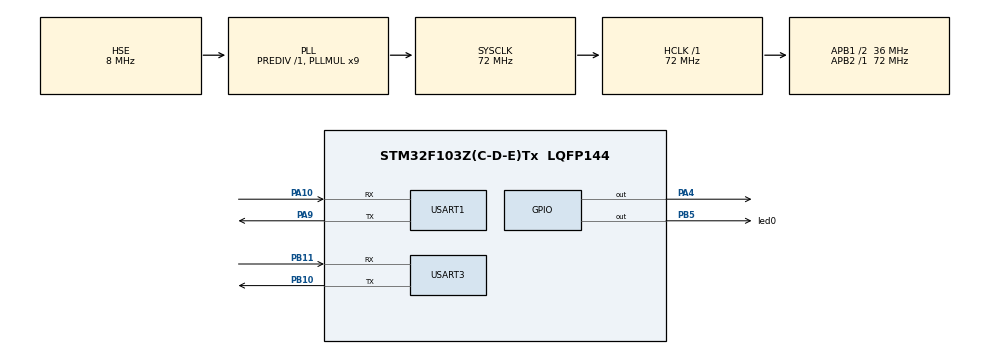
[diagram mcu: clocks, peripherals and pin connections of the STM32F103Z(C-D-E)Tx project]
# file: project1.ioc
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Mcu.Family=STM32F1
Mcu.Name=STM32F103Z(C-D-E)Tx
Mcu.Package=LQFP144
NVIC.PriorityGroup=NVIC_PRIORITYGROUP_4
OSC_IN.Mode=HSE-External-Oscillator
OSC_IN.Signal=RCC_OSC_IN
OSC_OUT.Mode=HSE-External-Oscillator
OSC_OUT.Signal=RCC_OSC_OUT
PA10.Mode=Asynchronous
PA10.Signal=USART1_RX
PA13.Mode=JTAG_4_pins
PA13.Signal=SYS_JTMS-SWDIO
PA14.Mode=JTAG_4_pins
PA14.Signal=SYS_JTCK-SWCLK
PA15.Mode=JTAG_4_pins
PA15.Signal=SYS_JTDI
PA4.Signal=GPIO_Output
PA9.Mode=Asynchronous
PA9.Signal=USART1_TX
PB10.Mode=Asynchronous
PB10.Signal=USART3_TX
PB11.Mode=Asynchronous
PB11.Signal=USART3_RX
PB3.Mode=JTAG_4_pins
PB3.Signal=SYS_JTDO-TRACESWO
PB5.GPIO_Label=led0
PB5.Signal=GPIO_Output
PC14-OSC32_IN.Mode=LSE-External-Oscillator
PC14-OSC32_IN.Signal=RCC_OSC32_IN
PC15-OSC32_OUT.Mode=LSE-External-Oscillator
PC15-OSC32_OUT.Signal=RCC_OSC32_OUT
ProjectManager.HeapSize=0x200
ProjectManager.StackSize=0x400
ProjectManager.TargetToolchain=MDK-ARM V5
RCC.AHBFreq_Value=72000000
RCC.APB1CLKDivider=RCC_HCLK_DIV2
RCC.APB1Freq_Value=36000000
RCC.APB1TimFreq_Value=72000000
RCC.APB2Freq_Value=72000000
RCC.APB2TimFreq_Value=72000000
RCC.HCLKFreq_Value=72000000
RCC.PLLMUL=RCC_PLL_MUL9
RCC.PLLSourceVirtual=RCC_PLLSOURCE_HSE
RCC.SYSCLKFreq_VALUE=72000000
RCC.SYSCLKSource=RCC_SYSCLKSOURCE_PLLCLK
RCC.USBFreq_Value=72000000
USART1.VirtualMode=VM_ASYNC
USART3.VirtualMode=VM_ASYNC
board=custom

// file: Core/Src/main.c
/* USER CODE BEGIN Header */
/**
	******************************************************************************
	* @file           : main.c
	* @brief          : Main program body
	******************************************************************************
	* @attention
	*
	* <h2><center>&copy; Copyright (c) 2021 STMicroelectronics.
	* All rights reserved.</center></h2>
	*
	* This software component is licensed by ST under BSD 3-Clause license,
	* the "License"; You may not use this file except in compliance with the
	* License. You may obtain a copy of the License at:
	*                        opensource.org/licenses/BSD-3-Clause
	*
	******************************************************************************
	*/
/* USER CODE END Header */
#include "main.h"

UART_HandleTypeDef huart1;
UART_HandleTypeDef huart3;

/* USER CODE BEGIN PV */
uint8_t connect[47] = {0x10, 0x22, 0x00, 0x04, 0x4D, 0x51, 0x54, 0x54, 0x04, 0xC2, 0x00, 0x78, 0x00, 0x09, 0x36, 0x39, 0x38, 0x39, 0x34, 0x30, 0x30, 0x37, 0x34, 0x00, 0x06, 0x34, 0x31, 0x30, 0x39, 0x38, 0x37, 0x00, 0x03, 0x61, 0x61, 0x61};
/* USER CODE END PV */

void SystemClock_Config(void);
static void MX_GPIO_Init(void);
static void MX_USART1_UART_Init(void);
static void MX_USART3_UART_Init(void);
/* USER CODE BEGIN PFP */
void init8266(){
    uint8_t transmit[] = "AT+CWMODE=3\r\n";
	uint8_t recev[100] = {0};
	HAL_GPIO_WritePin(GPIOA, GPIO_PIN_4, RESET);
	HAL_Delay(200);
	HAL_GPIO_WritePin(GPIOA, GPIO_PIN_4, SET);
	HAL_Delay(2000);
	HAL_UART_Transmit(&huart3, transmit, sizeof(transmit)-1, 100);
	HAL_UART_Receive(&huart3, recev, 100, 1000);
	//if(recev[0] == 'O' && recev[1] == 'K')
	HAL_UART_Transmit(&huart1, recev, 100, 200);
	memset(recev, 0, 100);
	HAL_UART_Transmit(&huart1, transmit, 13, 100);
	HAL_Delay(5000);
	uint8_t transmit1[] = "AT+CWJAP=\"CMCC-G9Ay\",\"75294z1z\"\r\n";
	HAL_UART_Transmit(&huart3, transmit1, sizeof(transmit1)-1, 50);
	HAL_UART_Receive(&huart3, recev, 100, 1000);

	HAL_UART_Transmit(&huart1, recev, 100, 200);
	memset(recev, 0, 100);
	HAL_UART_Transmit(&huart1, transmit1, 33, 100);
	HAL_Delay(10000);
	uint8_t transmit2[] = "AT+CIPSTART=\"TCP\",\"183.230.40.39\",6002\r\n";
	HAL_UART_Transmit(&huart3, transmit2, sizeof(transmit2)-1, 50);
	HAL_UART_Receive(&huart3, recev, 100, 1000);
	HAL_UART_Transmit(&huart1, recev, 100, 200);
	memset(recev, 0, 100);
	HAL_UART_Transmit(&huart1, transmit2, 38, 100);
	HAL_Delay(5000);
	uint8_t transmit3[] = "AT+CIPMODE=1\r\n";
	HAL_UART_Transmit(&huart3, transmit3, sizeof(transmit3)-1, 50);
	HAL_UART_Receive(&huart3, recev, 100, 1000);
	HAL_UART_Transmit(&huart1, recev, 100, 200);
	memset(recev, 0, 100);
	HAL_UART_Transmit(&huart1, transmit3, 14, 100);
	HAL_Delay(5000);
	uint8_t transmit4[] = "AT+CIPSEND\r\n";
	HAL_UART_Transmit(&huart3, transmit4, sizeof(transmit4)-1, 50);
	HAL_UART_Receive(&huart3, recev, 100, 1000);
	HAL_UART_Transmit(&huart1, recev, 100, 200);
	memset(recev, 0, 100);
	HAL_UART_Transmit(&huart1, transmit4, 12, 100);
	HAL_Delay(5000);
	HAL_UART_Transmit(&huart3, connect, 36, 100);
	HAL_UART_Receive(&huart3, recev, 100, 3000);
	HAL_UART_Transmit(&huart1, recev, 100, 200);
	memset(recev, 0, 100);
	HAL_UART_Transmit(&huart1, connect, 36, 100);
	//if(HAL_UART_Transmit(&huart3, recev, 2, 2000)==HAL_OK);
}
/* USER CODE END PFP */

int main(void)
{

	/* MCU Configuration--------------------------------------------------------*/

	/* Reset of all peripherals, Initializes the Flash interface and the Systick. */
	HAL_Init();

	/* USER CODE BEGIN Init */
	uint8_t p[47];
	uint8_t t[] = "i have receive";
	uint8_t nt[] = "i didn't receive";
	//nt = "i didn't receive";
	//t = "i have receive";
	/* USER CODE END Init */

	/* Configure the system clock */
	SystemClock_Config();

	/* Initialize all configured peripherals */
	MX_GPIO_Init();
	MX_USART1_UART_Init();
	MX_USART3_UART_Init();
	/* USER CODE BEGIN 2 */
	//__HAL_UART_ENABLE_IT(&huart1, UART_IT_IDLE);
	init8266();
	/* USER CODE END 2 */

	/* Infinite loop */
	while (1)
	{

		/* USER CODE BEGIN 3 */
		//HAL_UART_Transmit(&huart1, nt, 17, 2);
		HAL_UART_Receive(&huart3, p, 47, 100);
		if(p[46] == 0x30){

			HAL_UART_Transmit(&huart1, t, 15, 2);
			HAL_GPIO_WritePin(GPIOB, GPIO_PIN_5, GPIO_PIN_SET);
			memset(p, 0, 47);
		}
		if(p[46] == 0x31){

			HAL_UART_Transmit(&huart1, t, 15, 100);
			HAL_GPIO_WritePin(GPIOB, GPIO_PIN_5, GPIO_PIN_RESET);
			memset(p, 0, 47);
		}
	}
	/* USER CODE END 3 */
}

void SystemClock_Config(void)
{
	RCC_OscInitTypeDef RCC_OscInitStruct = {0};
	RCC_ClkInitTypeDef RCC_ClkInitStruct = {0};

	/** Initializes the RCC Oscillators according to the specified parameters
	* in the RCC_OscInitTypeDef structure.
	*/
	RCC_OscInitStruct.OscillatorType = RCC_OSCILLATORTYPE_HSE;
	RCC_OscInitStruct.HSEState = RCC_HSE_ON;
	RCC_OscInitStruct.HSEPredivValue = RCC_HSE_PREDIV_DIV1;
	RCC_OscInitStruct.HSIState = RCC_HSI_ON;
	RCC_OscInitStruct.PLL.PLLState = RCC_PLL_ON;
	RCC_OscInitStruct.PLL.PLLSource = RCC_PLLSOURCE_HSE;
	RCC_OscInitStruct.PLL.PLLMUL = RCC_PLL_MUL9;
	if (HAL_RCC_OscConfig(&RCC_OscInitStruct) != HAL_OK)
	{
		Error_Handler();
	}
	/** Initializes the CPU, AHB and APB buses clocks
	*/
	RCC_ClkInitStruct.ClockType = RCC_CLOCKTYPE_HCLK|RCC_CLOCKTYPE_SYSCLK
															|RCC_CLOCKTYPE_PCLK1|RCC_CLOCKTYPE_PCLK2;
	RCC_ClkInitStruct.SYSCLKSource = RCC_SYSCLKSOURCE_PLLCLK;
	RCC_ClkInitStruct.AHBCLKDivider = RCC_SYSCLK_DIV1;
	RCC_ClkInitStruct.APB1CLKDivider = RCC_HCLK_DIV2;
	RCC_ClkInitStruct.APB2CLKDivider = RCC_HCLK_DIV1;

	if (HAL_RCC_ClockConfig(&RCC_ClkInitStruct, FLASH_LATENCY_2) != HAL_OK)
	{
		Error_Handler();
	}
}

static void MX_USART1_UART_Init(void)
{

	huart1.Instance = USART1;
	huart1.Init.BaudRate = 115200;
	huart1.Init.WordLength = UART_WORDLENGTH_8B;
	huart1.Init.StopBits = UART_STOPBITS_1;
	huart1.Init.Parity = UART_PARITY_NONE;
	huart1.Init.Mode = UART_MODE_TX_RX;
	huart1.Init.HwFlowCtl = UART_HWCONTROL_NONE;
	huart1.Init.OverSampling = UART_OVERSAMPLING_16;
	if (HAL_UART_Init(&huart1) != HAL_OK)
	{
		Error_Handler();
	}

}

static void MX_USART3_UART_Init(void)
{

	huart3.Instance = USART3;
	huart3.Init.BaudRate = 115200;
	huart3.Init.WordLength = UART_WORDLENGTH_8B;
	huart3.Init.StopBits = UART_STOPBITS_1;
	huart3.Init.Parity = UART_PARITY_NONE;
	huart3.Init.Mode = UART_MODE_TX_RX;
	huart3.Init.HwFlowCtl = UART_HWCONTROL_NONE;
	huart3.Init.OverSampling = UART_OVERSAMPLING_16;
	if (HAL_UART_Init(&huart3) != HAL_OK)
	{
		Error_Handler();
	}

}

static void MX_GPIO_Init(void)
{
	GPIO_InitTypeDef GPIO_InitStruct = {0};

	/* GPIO Ports Clock Enable */
	__HAL_RCC_GPIOC_CLK_ENABLE();
	__HAL_RCC_GPIOA_CLK_ENABLE();
	__HAL_RCC_GPIOB_CLK_ENABLE();

	/*Configure GPIO pin Output Level */
	HAL_GPIO_WritePin(GPIOA, GPIO_PIN_4, GPIO_PIN_RESET);

	/*Configure GPIO pin Output Level */
	HAL_GPIO_WritePin(led0_GPIO_Port, led0_Pin, GPIO_PIN_RESET);

	/*Configure GPIO pin : PA4 */
	GPIO_InitStruct.Pin = GPIO_PIN_4;
	GPIO_InitStruct.Mode = GPIO_MODE_OUTPUT_PP;
	GPIO_InitStruct.Pull = GPIO_NOPULL;
	GPIO_InitStruct.Speed = GPIO_SPEED_FREQ_LOW;
	HAL_GPIO_Init(GPIOA, &GPIO_InitStruct);

	/*Configure GPIO pin : led0_Pin */
	GPIO_InitStruct.Pin = led0_Pin;
	GPIO_InitStruct.Mode = GPIO_MODE_OUTPUT_PP;
	GPIO_InitStruct.Pull = GPIO_NOPULL;
	GPIO_InitStruct.Speed = GPIO_SPEED_FREQ_LOW;
	HAL_GPIO_Init(led0_GPIO_Port, &GPIO_InitStruct);

}

void Error_Handler(void)
{
	__disable_irq();
	while (1)
	{
	}
}

/************************ (C) COPYRIGHT STMicroelectronics *****END OF FILE****/
